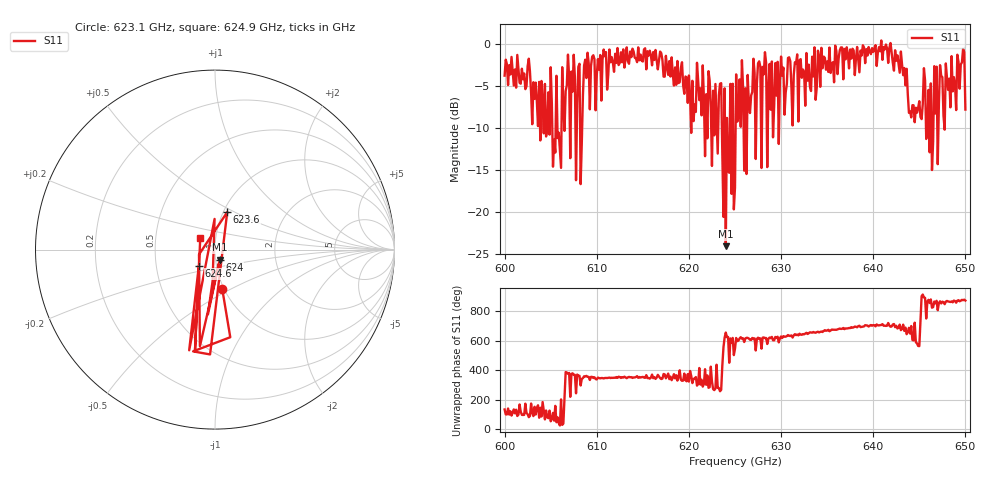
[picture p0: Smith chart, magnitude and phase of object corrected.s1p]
!Created with skrf (http://scikit-rf.org).
# GHz S MA R 50.0
!freq magS11 angS11
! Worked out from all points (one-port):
!   401 points, 600 GHz to 650 GHz, reference 50 ohm
!   lowest |S11| = -24.1 dB at 624 GHz (marker M1), VSWR 1.13, Z = 52.4 - j5.95 ohm
!   |S11| at or under -10 dB: 604.4797 GHz to 604.6311 GHz (151.4 MHz wide, 0.025 % of centre); 605.1733 GHz to 605.5401 GHz (366.8 MHz wide, 0.0606 % of centre); 605.7297 GHz to 606.1746 GHz (444.9 MHz wide, 0.0734 % of centre) (the widest 3 of 33)
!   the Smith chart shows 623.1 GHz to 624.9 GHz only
!   S11 on the Smith chart (normalised r, x): 623.1 GHz: 0.98, -0.45; 623.6 GHz: 1.04, +0.46; 624 GHz: 1.05, -0.12; 624.6 GHz: 0.82, -0.15; 624.9 GHz: 0.84, +0.11
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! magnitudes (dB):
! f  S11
! 600 GHz  -3.8
! 606.2 GHz  -2.8
! 606.8 GHz  -4.9
! 608.5 GHz  -6.1
! 608.9 GHz  -4.0
! 612.5 GHz  -2.2
! 618.8 GHz  -2.0
! 620.5 GHz  -9.2
! 621 GHz  -4.3
! 623.1 GHz  -13.1
! 623.6 GHz  -13.2
! 623.8 GHz  -20.6
! 624 GHz  -24.1
! 624.6 GHz  -17.9
! 624.9 GHz  -19.7
! 625 GHz  -17.1
! 625.6 GHz  -9.9
! 626.2 GHz  -15.5
! 626.9 GHz  -5.7
! 631.2 GHz  -9.7
! 637.5 GHz  -0.6
! 641.6 GHz  -2.2
! 643.8 GHz  -6.0
! 645.8 GHz  -11.3
! 646.2 GHz  -4.7
! 647.4 GHz  -3.8
! 649.6 GHz  -2.2
! 650 GHz  -7.8
